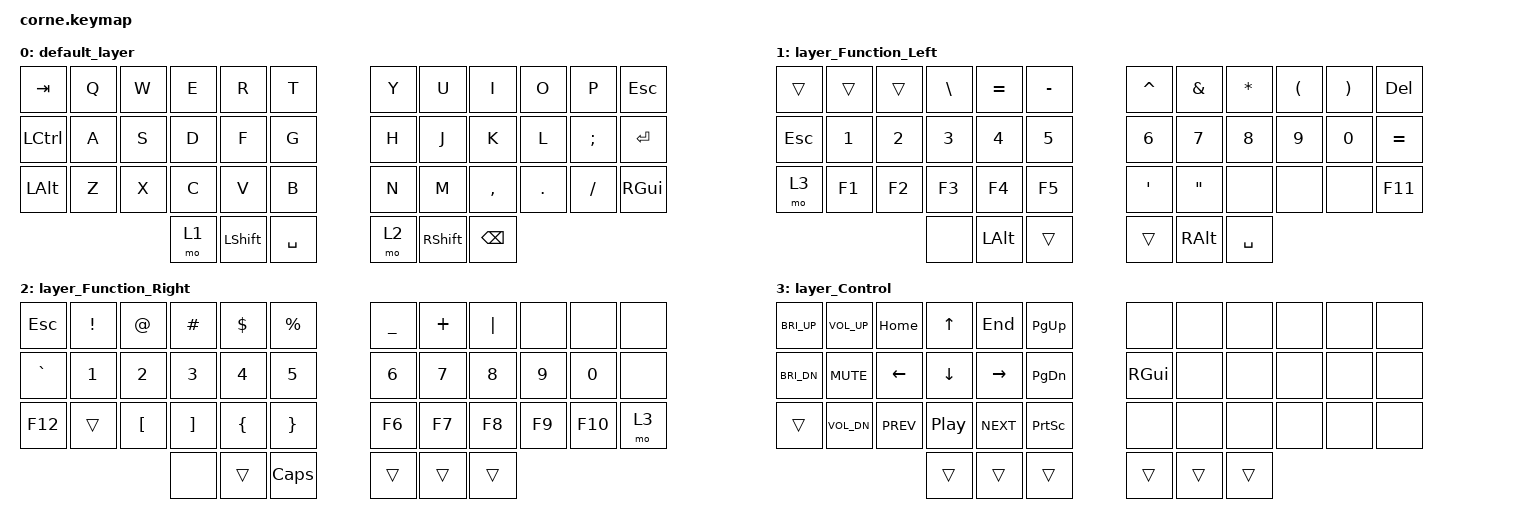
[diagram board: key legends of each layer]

/*
 * Copyright (c) 2020 The ZMK Contributors
 *
 * SPDX-License-Identifier: MIT
 */


/* THIS FILE WAS GENERATED!
 *
 * This file was generated automatically. You may or may not want to
 * edit it directly.
 */

#include <behaviors.dtsi>
#include <dt-bindings/zmk/keys.h>

/ {
    keymap {
        compatible = "zmk,keymap";


        default_layer {
            bindings = <
   &kp TAB   &kp Q   &kp W   &kp E           &kp R      &kp T            &kp Y       &kp U          &kp I       &kp O          &kp P        &kp ESC
 &kp LCTRL   &kp A   &kp S   &kp D           &kp F      &kp G            &kp H       &kp J          &kp K       &kp L  &kp SEMICOLON      &kp ENTER
  &kp LALT   &kp Z   &kp X   &kp C           &kp V      &kp B            &kp N       &kp M      &kp COMMA  &kp PERIOD      &kp SLASH  &kp RIGHT_GUI
                             &mo 1  &kp LEFT_SHIFT  &kp SPACE            &mo 2  &kp RSHIFT  &kp BACKSPACE
            >;
        };

        layer_Function_Left {
            bindings = <
  &trans        &trans        &trans  &kp BACKSLASH     &kp EQUAL     &kp MINUS                   &kp CARET           &kp AMPS     &kp ASTRK      &kp LPAR      &kp RPAR    &kp DEL
 &kp ESC  &kp NUMBER_1  &kp NUMBER_2   &kp NUMBER_3  &kp NUMBER_4  &kp NUMBER_5                &kp NUMBER_6       &kp NUMBER_7  &kp NUMBER_8  &kp NUMBER_9  &kp NUMBER_0  &kp EQUAL
   &mo 3        &kp F1        &kp F2         &kp F3        &kp F4        &kp F5            &kp SINGLE_QUOTE  &kp DOUBLE_QUOTES         &none         &none         &none    &kp F11
                                              &none      &kp LALT        &trans                      &trans           &kp RALT     &kp SPACE
            >;
        };

        layer_Function_Right {
            bindings = <
   &kp ESC      &kp EXCL        &kp AT      &kp HASH    &kp DOLLAR   &kp PERCENT               &kp UNDER      &kp PLUS      &kp PIPE         &none         &none   &none
 &kp GRAVE  &kp NUMBER_1  &kp NUMBER_2  &kp NUMBER_3  &kp NUMBER_4  &kp NUMBER_5            &kp NUMBER_6  &kp NUMBER_7  &kp NUMBER_8  &kp NUMBER_9  &kp NUMBER_0   &none
   &kp F12        &trans      &kp LBKT      &kp RBKT      &kp LBRC      &kp RBRC                  &kp F6        &kp F7        &kp F8        &kp F9       &kp F10   &mo 3
                                               &none        &trans      &kp CAPS                  &trans        &trans        &trans
            >;
        };

        layer_Control {
            bindings = <
 &kp C_BRI_UP  &kp C_VOL_UP    &kp HOME            &kp UP     &kp END      &kp PAGE_UP               &none   &none   &none   &none   &none   &none
 &kp C_BRI_DN    &kp C_MUTE    &kp LEFT          &kp DOWN   &kp RIGHT    &kp PAGE_DOWN            &kp RGUI   &none   &none   &none   &none   &none
       &trans  &kp C_VOL_DN  &kp C_PREV  &kp C_PLAY_PAUSE  &kp C_NEXT  &kp PRINTSCREEN               &none   &none   &none   &none   &none   &none
                                                   &trans      &trans           &trans              &trans  &trans  &trans
            >;
        };

    };
};
